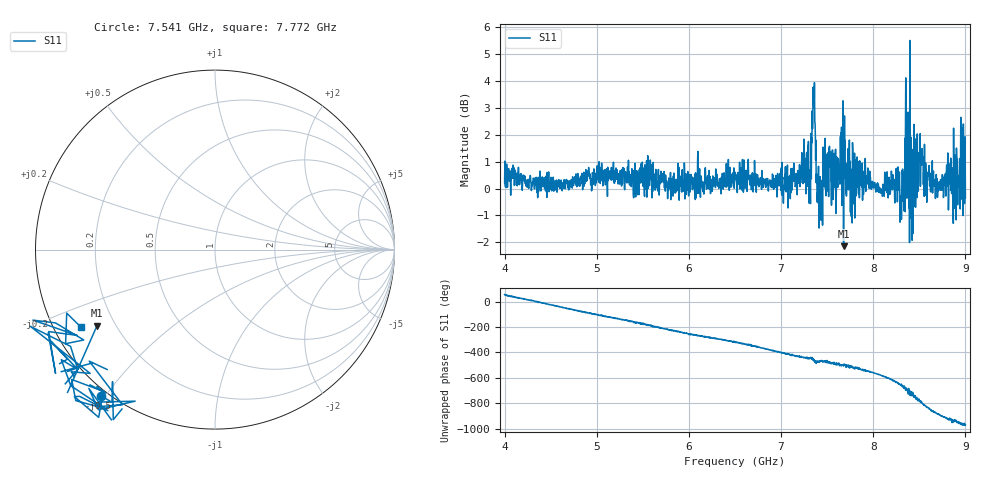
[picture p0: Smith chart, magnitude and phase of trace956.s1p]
! Created with skrf 1.8.0 (http://scikit-rf.org).
# Hz S RI R 50.0
!freq ReS11 ImS11
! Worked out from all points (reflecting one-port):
!   1601 points, 4 GHz to 9 GHz, reference 50 ohm
!   lowest |S11| = -2.1 dB at 7.678 GHz (marker M1), VSWR 8.16, Z = 6.65 - j14.5 ohm
!   phase of S11 starts at 55 deg and turns -1024 deg over the sweep
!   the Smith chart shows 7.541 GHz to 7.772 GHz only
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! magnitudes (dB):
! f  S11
! 4 GHz  0.2
! 4.625 GHz  -0.1
! 5.25 GHz  0.2
! 5.875 GHz  0.1
! 6.5 GHz  0.3
! 7.125 GHz  0.7
! 7.294 GHz  0.7
! 7.319 GHz  -0.6
! 7.347 GHz  3.8
! 7.362 GHz  3.9
! 7.394 GHz  -0.2
! 7.412 GHz  -1.5
! 7.481 GHz  0.0
! 7.591 GHz  1.5
! 7.678 GHz  -2.1
! 7.75 GHz  0.3
! 7.775 GHz  1.7
! 7.844 GHz  1.0
! 8.097 GHz  -0.1
! 8.262 GHz  -0.5
! 8.316 GHz  0.6
! 8.334 GHz  -0.8
! 8.375 GHz  0.1
! 8.425 GHz  -1.5
! 8.516 GHz  1.1
! 8.7 GHz  -0.1
! 8.972 GHz  0.3
! 9 GHz  -0.4
